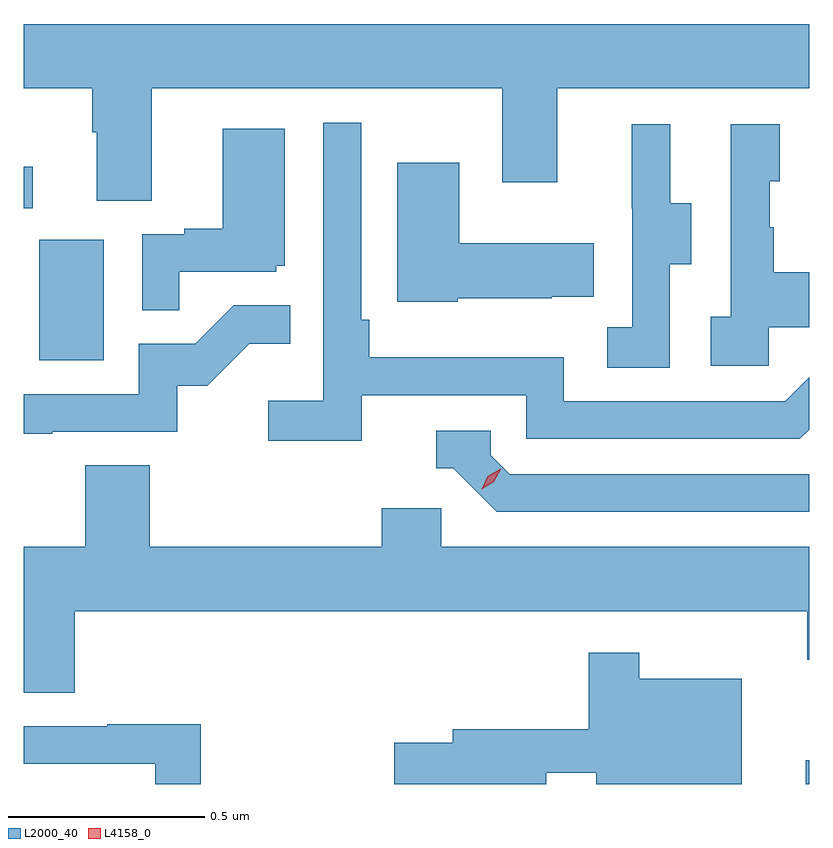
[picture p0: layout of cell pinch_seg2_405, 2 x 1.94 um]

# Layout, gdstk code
import gdstk
lib = gdstk.Library(unit=1e-6, precision=1e-09)
def R(c, l, rs):  # rectangles x0, y0, x1, y1
    for r in rs: c.add(gdstk.rectangle(r[:2], r[2:], *l))
def P(c, l, *ps):  # polygons
    for p in ps: c.add(gdstk.Polygon(p, *l))
L2000_40 = (2000, 40)
L4158_0 = (4158, 0)

pinch_seg2_405 = lib.new_cell('pinch_seg2_405')
R(pinch_seg2_405, L2000_40, [(984.899,609.9,984.907,609.961), (982.946,610.98,983.11,611.287), (982.907,611.367,982.93,611.473)])
P(pinch_seg2_405, L2000_40, [(983.233,611.672),(984.125,611.672),(984.125,611.433),(984.265,611.433),(984.265,611.672),(984.907,611.672),(984.907,611.836),(982.907,611.836),(982.907,611.672),(983.081,611.672),(983.081,611.56),(983.093,611.56),(983.093,611.386),(983.233,611.386)],
  [(983.768,610.89),(984.186,610.89),(984.186,610.779),(984.883,610.779),(984.907,610.803),(984.907,610.936),(984.846,610.875),(984.282,610.875),(984.282,610.987),(983.786,610.987),(983.786,611.083),(983.766,611.083),(983.766,611.584),(983.67,611.584),(983.67,610.876),(983.529,610.876),(983.529,610.774),(983.768,610.774)],
  [(984.552,611.224),(984.607,611.224),(984.607,611.379),(984.553,611.379),(984.553,611.581),(984.455,611.581),(984.455,611.367),(984.456,611.367),(984.456,611.063),(984.393,611.063),(984.393,610.96),(984.552,610.96)],
  [(984.804,611.063),(984.907,611.063),(984.907,611.203),(984.817,611.203),(984.817,611.318),(984.807,611.318),(984.807,611.436),(984.832,611.436),(984.832,611.581),(984.708,611.581),(984.708,611.09),(984.657,611.09),(984.657,610.965),(984.804,610.965)],
  [(983.303,611.205),(983.55,611.205),(983.55,611.22),(983.572,611.22),(983.572,611.569),(983.414,611.569),(983.414,611.314),(983.315,611.314),(983.315,611.301),(983.208,611.301),(983.208,611.107),(983.303,611.107)],
  [(984.012,611.138),(984.251,611.138),(984.251,611.141),(984.359,611.141),(984.359,611.278),(984.016,611.278),(984.016,611.482),(983.858,611.482),(983.858,611.129),(984.012,611.129)],
  [(982.979,610.797),(983.298,610.797),(983.298,610.914),(983.374,610.914),(983.481,611.021),(983.585,611.021),(983.585,611.12),(983.441,611.12),(983.343,611.022),(983.199,611.022),(983.199,610.893),(982.907,610.893),(982.907,610.792),(982.979,610.792)],
  [(984.907,610.689),(984.144,610.689),(984.096,610.737),(984.096,610.8),(983.957,610.8),(983.957,610.704),(984,610.704),(984.111,610.593),(984.907,610.593)],
  [(983.036,610.34),(984.903,610.34),(984.903,610.217),(984.907,610.217),(984.907,610.504),(983.97,610.504),(983.97,610.602),(983.819,610.602),(983.819,610.504),(983.228,610.504),(983.228,610.712),(983.063,610.712),(983.063,610.504),(982.907,610.504),(982.907,610.132),(983.036,610.132)],
  [(984.238,609.929),(984.365,609.929),(984.365,609.9),(984.736,609.9),(984.736,610.168),(984.475,610.168),(984.475,610.234),(984.346,610.234),(984.346,610.039),(983.999,610.039),(983.999,610.005),(983.85,610.005),(983.85,609.9),(984.238,609.9)],
  [(983.357,610.052),(983.119,610.052),(983.119,610.047),(982.907,610.047),(982.907,609.951),(983.241,609.951),(983.241,609.9),(983.357,609.9)])
P(pinch_seg2_405, L4158_0, [(984.073,610.651),(984.073,610.651),(984.089,610.684),(984.121,610.703),(984.121,610.703),(984.121,610.702),(984.104,610.67),(984.073,610.651)])

lib.write_gds('pinch_seg2_405.gds')
